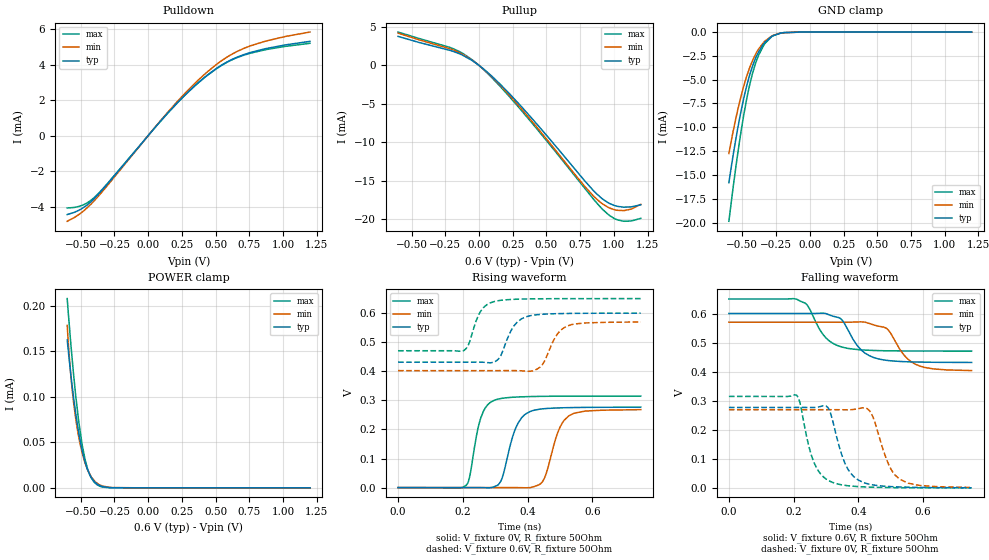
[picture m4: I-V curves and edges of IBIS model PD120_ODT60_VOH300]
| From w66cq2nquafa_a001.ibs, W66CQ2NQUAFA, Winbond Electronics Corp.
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[Model]   PD120_ODT60_VOH300
Model_type   I/O
Polarity   Non-Inverting
Enable   Active-Low
Vinl = 0.08
Vinh = 0.22
Vmeas = 0.15
Vref = 0
Cref = 0pF
Rref = 60
|   typ   min   max
C_comp   0.85pF   0.80pF   0.90pF
[Voltage Range]   0.6   0.57   0.65
[Temperature Range]   25   95   -40
[Pullup Reference]   0.6   0.57   0.65
[Pulldown Reference]   0   0   0
[Power Clamp Reference]   0.6   0.57   0.65
[GND Clamp Reference]   0   0   0
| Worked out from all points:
|   slope of the pulldown table from 0 to 0.09 V, typ, clamps not added: 112 ohm
|   slope of the pullup table from 0 to 0.09 V, typ, clamps not added: 67.7 ohm
|   GND clamp passes 1 mA (typ) near -0.33 V on its own axis
|   falling waveform, V_fixture 0.6V, R_fixture 50Ohm: 20-80 % time 62.2ps typ, 63.4ps min, 59.1ps max; typ from 0.6 V to 0.432 V
|   rising waveform, V_fixture 0V, R_fixture 50Ohm: 20-80 % time 43.2ps typ, 44.5ps min, 34.5ps max; typ from 0 V to 0.277 V
|   rising waveform, V_fixture 0.6V, R_fixture 50Ohm: 20-80 % time 44.2ps typ, 45.5ps min, 38.1ps max; typ from 0.431 V to 0.6 V
|   falling waveform, V_fixture 0V, R_fixture 50Ohm: 20-80 % time 50.2ps typ, 52.2ps min, 46.9ps max; typ from 0.277 V to 0 V
[Pulldown]
|   Voltage   I(typ)   I(min)   I(max)
-600mV    -4.454mA   -4.833mA   -4.083mA
-488.9mV  -4.105mA   -4.313mA   -3.933mA
-401.4mV  -3.566mA   -3.688mA   -3.504mA
-302.9mV  -2.74mA    -2.825mA   -2.713mA
53.22mV   479.5uA    494.4uA    478.8uA
211.9mV   1.819mA    1.888mA    1.814mA
371.9mV   2.993mA    3.138mA    2.982mA
505.8mV   3.791mA    4.016mA    3.776mA
625.2mV   4.315mA    4.617mA    4.294mA
762.3mV   4.703mA    5.082mA    4.664mA
1.013V    5.117mA    5.592mA    5.036mA
1.2V      5.325mA    5.851mA    5.215mA
[GND Clamp]
|   Voltage   I(typ)   I(min)   I(max)
-600mV    -15.82mA   -12.76mA   -19.87mA
-548.4mV  -11.24mA   -9.073mA   -14.19mA
-515.5mV  -8.701mA   -7.057mA   -10.95mA
-488.9mV  -6.899mA   -5.627mA   -8.635mA
-448.6mV  -4.647mA   -3.846mA   -5.715mA
-425mV    -3.599mA   -3.013mA   -4.359mA
-379.8mV  -2.102mA   -1.791mA   -2.434mA
-333.5mV  -1.098mA   -949.3uA   -1.214mA
-283.7mV  -461.7uA   -440.8uA   -497.8uA
-217.8mV  -120.7uA   -128uA     -105uA
-59.4mV   -1.293uA   -3.115uA   -485.3nA
1.2V      0A         0A         0A
[Pullup]
|   Voltage   I(typ)   I(min)   I(max)
-600mV    3.769mA    4.193mA    4.335mA
-217.8mV  1.962mA    2.175mA    2.351mA
-118.3mV  1.293mA    1.409mA    1.533mA
-37.1mV   462.7uA    495uA      545.6uA
111.9mV   -1.684mA   -1.775mA   -1.901mA
299.6mV   -5.076mA   -5.348mA   -5.559mA
777.1mV   -14.88mA   -15.61mA   -15.84mA
872.3mV   -16.71mA   -17.4mA    -17.89mA
955.5mV   -17.85mA   -18.46mA   -19.37mA
1.028V    -18.36mA   -18.87mA   -20.12mA
1.125V    -18.42mA   -18.72mA   -20.26mA
1.2V      -18.15mA   -18.09mA   -19.91mA
[POWER Clamp]
|   Voltage   I(typ)   I(min)   I(max)
-600mV    162.4uA    178.3uA    207.7uA
-580.6mV  134.6uA    136.3uA    171.3uA
-564.1mV  113uA      109.2uA    142.8uA
-552.1mV  98.55uA    93.05uA    123.6uA
-539mV    84.06uA    78.04uA    104.1uA
-515.5mV  61.27uA    56.67uA    73.82uA
-488.9mV  40.79uA    38.14uA    46.93uA
-448.6mV  19.78uA    19.7uA     20.63uA
-425.1mV  12.23uA    12.94uA    11.9uA
-380.3mV  4.445uA    5.301uA    3.52uA
-269.4mV  150.3nA    314.8nA    34.64nA
1.2V      0A         0A         0A
[Ramp]
R_load = 50
|   typ   min   max
dV/dt_r 1.6598E-01/4.3085E-11   1.6087E-01/4.4336E-11   1.8882E-01/3.3997E-11
dV/dt_f 1.0106E-01/6.2126E-11   9.9841E-02/6.3342E-11   1.0760E-01/5.9031E-11
[Falling Waveform]
V_fixture = 0.6V
V_fixture_min = 0.57V
V_fixture_max = 0.65V
R_fixture = 50Ohm
C_fixture = 0F
|   Time   V(typ)   V(min)   V(max)
0s        600mV      570mV      650mV
209ps     600mV      570mV      649.5mV
243ps     600mV      570mV      627.8mV
300ps     599.6mV    570mV      516mV
348ps     579.6mV    570mV      485mV
421ps     463.4mV    570.1mV    474.2mV
487ps     438.9mV    548.8mV    471.8mV
543ps     434.2mV    454.7mV    471.1mV
578ps     433.1mV    424.6mV    470.9mV
750ps     431.6mV    403.6mV    470.7mV
[Rising Waveform]
V_fixture = 0V
V_fixture_min = 0V
V_fixture_max = 0V
R_fixture = 50Ohm
C_fixture = 0F
|   Time   V(typ)   V(min)   V(max)
0s        7.087uV    23.45uV    1.39uV
211ps     6.845uV    23.46uV    8.341mV
255ps     -3.45uV    23.52uV    237.5mV
300ps     4.373mV    23.15uV    301.4mV
364ps     206mV      5.657uV    311.3mV
396ps     254.4mV    -658.7uV   312.7mV
446ps     270.8mV    19.79mV    313.8mV
493ps     274mV      188.1mV    314.3mV
527ps     275mV      246.3mV    314.5mV
750ps     276.6mV    268.1mV    314.7mV
[Rising Waveform]
V_fixture = 0.6V
V_fixture_min = 0.57V
V_fixture_max = 0.65V
R_fixture = 50Ohm
C_fixture = 0F
|   Time   V(typ)   V(min)   V(max)
0s        431.4mV    402.3mV    470.7mV
202ps     431.4mV    402.3mV    470.5mV
255ps     431.5mV    402.3mV    605.9mV
300ps     433.7mV    402.3mV    640.7mV
354ps     549.1mV    402.4mV    647.3mV
391ps     585.5mV    400.9mV    648.6mV
440ps     595.7mV    415.4mV    649.4mV
487ps     598mV      519.1mV    649.7mV
520ps     598.8mV    554.4mV    649.9mV
750ps     600mV      569.6mV    650mV
[Falling Waveform]
|Gnd
V_fixture = 0V
V_fixture_min = 0V
V_fixture_max = 0V
R_fixture = 50Ohm
C_fixture = 0F
|   Time   V(typ)   V(min)   V(max)
0s        276.7mV    268.9mV    314.7mV
209ps     276.7mV    268.9mV    319mV
263ps     276.5mV    268.9mV    87.04mV
321ps     229.9mV    268.9mV    18.37mV
359ps     83.4mV     268.7mV    8.54mV
402ps     25.59mV    273.1mV    4.07mV
440ps     11.17mV    256.1mV    2.165mV
493ps     4.65mV     82.13mV    979.1uV
527ps     2.964mV    30.29mV    567.6uV
750ps     183.6uV    1.326mV    -14uV
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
